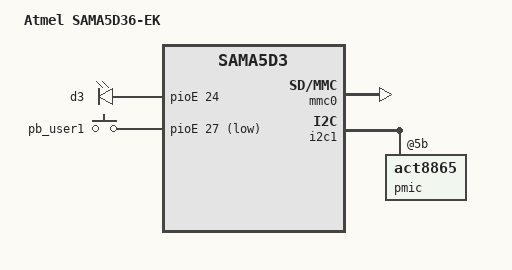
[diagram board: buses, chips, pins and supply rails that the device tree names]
/*
 * sama5d35ek.dts - Device Tree file for SAMA5D36-EK board
 *
 *  Copyright (C) 2013 Atmel,
 *                2013 Josh Wu <josh.wu@atmel.com>
 *
 * Licensed under GPLv2 or later.
 */
/dts-v1/;
#include "sama5d3xmb.dtsi"
#include "sama5d3xdm.dtsi"

/ {
	model = "Atmel SAMA5D36-EK";
	compatible = "atmel,sama5d36ek", "atmel,sama5d3xmb", "atmel,sama5d3xcm", "atmel,sama5d3", "atmel,sama5";

	ahb {
		apb {
			usart1: serial@f0020000 {
				status = "disabled";
			};

			mmc0: mmc@f0000000 {
				status = "okay";
			};

			mmc1: mmc@f8000000 {
				status = "disabled";
			};

			watchdog@fffffe40 {
				status = "disabled";
			};

			adc0: adc@f8018000 {
				status = "disabled";
			};

			spi0: spi@f0004000 {
				status = "disabled";
			};

			ssc0: ssc@f0008000 {
				status = "disabled";
			};

			can0: can@f000c000 {
				status = "disabled";
			};

			i2c0: i2c@f0014000 {
				status = "disabled";
			};

			i2c1: i2c@f0018000 {
				status = "okay";
				pmic: act8865@5b {
					status = "okay";
				};
			};

			macb0: ethernet@f0028000 {
				status = "disabled";
			};

			macb1: ethernet@f802c000 {
				status = "disabled";
			};

			lcd_bus@f0030000 {
				status = "disabled";

				lcd@f0030000 {
					status = "disabled";
				};

				lcdovl1@f0030140 {
					status = "disabled";
				};

				lcdovl2@f0030240 {
					status = "disabled";
				};

				lcdheo1@f0030340 {
					status = "disabled";
				};
			};

			pinctrl@fffff200 {
				board {
					pinctrl_key_gpio: key_gpio_0 {
						atmel,pins = <AT91_PIOE 27 AT91_PERIPH_GPIO AT91_PINCTRL_PULL_UP_DEGLITCH>; /* PE27 gpio */
					};
				};
			};
		};

		usb0: gadget@00500000 {
			status = "disabled";
		};

		usb1: ohci@00600000 {
			status = "disabled";
		};

		usb2: ehci@00700000 {
			status = "disabled";
		};
	};

	leds {
		d3 {
			label = "d3";
			gpios = <&pioE 24 GPIO_ACTIVE_HIGH>;
		};
	};

	sound {
		status = "disabled";
	};

	gpio_keys {
		compatible = "gpio-keys";
		#address-cells = <1>;
		#size-cells = <0>;

		pb_user1 {
			label = "pb_user1";
			gpios = <&pioE 27 GPIO_ACTIVE_LOW>;
			linux,code = <0x100>;
			gpio-key,wakeup;
			pinctrl-names = "default";
			pinctrl-0 = <&pinctrl_key_gpio>;
		};
	};
};
